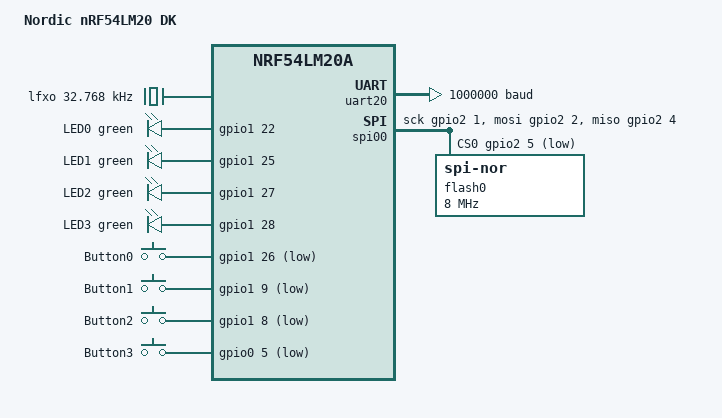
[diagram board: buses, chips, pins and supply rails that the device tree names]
// SPDX-FileCopyrightText: 2026 Core Devices LLC
// SPDX-License-Identifier: (GPL-2.0-only OR BSD-2-Clause)

/dts-v1/;

#include "nordic/nrf54lm20a.dtsi"

#include <dt-bindings/gpio/gpio.h>
#include <dt-bindings/input/input.h>
#include <dt-bindings/leds/common.h>

/ {
	model = "Nordic nRF54LM20 DK";
	compatible = "nordic,nrf54lm20-dk", "nordic,nrf54lm20a";

	lfxo: clock-32768 {
		compatible = "fixed-clock";
		#clock-cells = <0>;
		clock-frequency = <32768>;
	};

	leds {
		compatible = "gpio-leds";

		led0: led-0 {
			label = "LED0";
			color = <LED_COLOR_ID_GREEN>;
			gpios = <&gpio1 22 GPIO_ACTIVE_HIGH>;
		};

		led1: led-1 {
			label = "LED1";
			color = <LED_COLOR_ID_GREEN>;
			gpios = <&gpio1 25 GPIO_ACTIVE_HIGH>;
		};

		led2: led-2 {
			label = "LED2";
			color = <LED_COLOR_ID_GREEN>;
			gpios = <&gpio1 27 GPIO_ACTIVE_HIGH>;
		};

		led3: led-3 {
			label = "LED3";
			color = <LED_COLOR_ID_GREEN>;
			gpios = <&gpio1 28 GPIO_ACTIVE_HIGH>;
		};
	};

	// Buttons 0 to 3, as the four buttons of a watch
	buttons: gpio-keys {
		compatible = "gpio-keys";

		button-0 {
			label = "Button0";
			gpios = <&gpio1 26 (GPIO_ACTIVE_LOW | GPIO_PULL_UP)>;
			linux,code = <KEY_0>;
			debounce-interval = <40>;
			wakeup-source;
		};

		button-1 {
			label = "Button1";
			gpios = <&gpio1 9 (GPIO_ACTIVE_LOW | GPIO_PULL_UP)>;
			linux,code = <KEY_1>;
			debounce-interval = <40>;
		};

		button-2 {
			label = "Button2";
			gpios = <&gpio1 8 (GPIO_ACTIVE_LOW | GPIO_PULL_UP)>;
			linux,code = <KEY_2>;
			debounce-interval = <40>;
		};

		button-3 {
			label = "Button3";
			gpios = <&gpio0 5 (GPIO_ACTIVE_LOW | GPIO_PULL_UP)>;
			linux,code = <KEY_3>;
			debounce-interval = <40>;
		};
	};
};

&clock {
	clocks = <&hfxo>, <&lfxo>;
	clock-names = "hfxo", "lfxo";
	nordic,hfxo-load-capacitance-femtofarads = <15000>;
	nordic,lfxo-load-capacitance-femtofarads = <17000>;
};

&internal_flash {
	partitions {
		compatible = "fixed-partitions";
		#address-cells = <1>;
		#size-cells = <1>;

		partition@0 {
			label = "code";
			reg = <0x0 0x1fd000>;
		};
	};
};

// The interface MCU's virtual COM port 0
&uart20 {
	current-speed = <1000000>;
	tx-gpios = <&gpio1 16 GPIO_ACTIVE_HIGH>;
	rx-gpios = <&gpio1 17 GPIO_ACTIVE_HIGH>;
	status = "okay";
};

// The DC/DC inductor is fitted
&vregmain {
	regulator-initial-mode = <NRF54L15_REGULATOR_MODE_DCDC>;
};

// Macronix MX25R6435F, 8 MiB
&spi00 {
	sck-gpios = <&gpio2 1 GPIO_ACTIVE_HIGH>;
	mosi-gpios = <&gpio2 2 GPIO_ACTIVE_HIGH>;
	miso-gpios = <&gpio2 4 GPIO_ACTIVE_HIGH>;
	cs-gpios = <&gpio2 5 GPIO_ACTIVE_LOW>;
	status = "okay";

	flash0: flash@0 {
		compatible = "jedec,spi-nor";
		reg = <0>;
		spi-max-frequency = <8000000>;
	};
};
